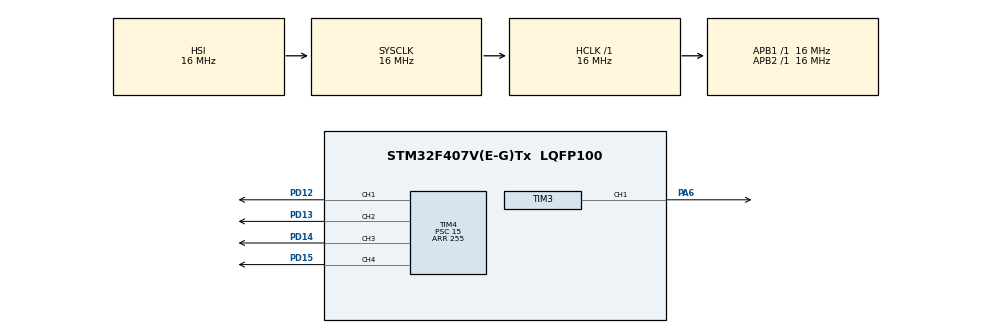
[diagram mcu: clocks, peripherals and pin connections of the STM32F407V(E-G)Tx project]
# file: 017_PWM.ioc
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Mcu.Family=STM32F4
Mcu.Name=STM32F407V(E-G)Tx
Mcu.Package=LQFP100
NVIC.PriorityGroup=NVIC_PRIORITYGROUP_4
PA6.Signal=S_TIM3_CH1
PD12.Signal=S_TIM4_CH1
PD13.Signal=S_TIM4_CH2
PD14.Signal=S_TIM4_CH3
PD15.Signal=S_TIM4_CH4
ProjectManager.HeapSize=0x200
ProjectManager.StackSize=0x400
ProjectManager.TargetToolchain=STM32CubeIDE
RCC.AHBFreq_Value=16000000
RCC.APB1Freq_Value=16000000
RCC.APB2Freq_Value=16000000
RCC.CortexFreq_Value=16000000
RCC.HSE_VALUE=25000000
RCC.HSI_VALUE=16000000
RCC.LSE_VALUE=32768
RCC.SYSCLKFreq_VALUE=16000000
RCC.VCOOutputFreq_Value=192000000
SH.S_TIM3_CH1.0=TIM3_CH1,PWM Generation1 CH1
SH.S_TIM4_CH1.0=TIM4_CH1,PWM Generation1 CH1
SH.S_TIM4_CH2.0=TIM4_CH2,PWM Generation2 CH2
SH.S_TIM4_CH3.0=TIM4_CH3,PWM Generation3 CH3
SH.S_TIM4_CH4.0=TIM4_CH4,PWM Generation4 CH4
TIM3.Channel-PWM\ Generation1\ CH1=TIM_CHANNEL_1
TIM3.Period=19999
TIM3.Prescaler=15
TIM4.Channel-PWM\ Generation1\ CH1=TIM_CHANNEL_1
TIM4.Channel-PWM\ Generation2\ CH2=TIM_CHANNEL_2
TIM4.Channel-PWM\ Generation3\ CH3=TIM_CHANNEL_3
TIM4.Channel-PWM\ Generation4\ CH4=TIM_CHANNEL_4
TIM4.Period=255
TIM4.Prescaler=15
TIM4.Pulse-PWM\ Generation1\ CH1=0
TIM4.Pulse-PWM\ Generation2\ CH2=0
TIM4.Pulse-PWM\ Generation3\ CH3=0
TIM4.Pulse-PWM\ Generation4\ CH4=0
VP_TIM3_VS_ClockSourceINT.Mode=Internal
VP_TIM4_VS_ClockSourceINT.Mode=Internal
board=custom

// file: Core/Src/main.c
/* USER CODE BEGIN Header */
/**
  ******************************************************************************
  * @file           : main.c
  * @brief          : Main program body
  ******************************************************************************
  * @attention
  *
  * Copyright (c) 2026 STMicroelectronics.
  * All rights reserved.
  *
  * This software is licensed under terms that can be found in the LICENSE file
  * in the root directory of this software component.
  * If no LICENSE file comes with this software, it is provided AS-IS.
  *
  ******************************************************************************
  */
/* USER CODE END Header */
#include "main.h"

TIM_HandleTypeDef htim3; // servo kanalı
TIM_HandleTypeDef htim4;

void SystemClock_Config(void);
static void MX_GPIO_Init(void);
static void MX_TIM4_Init(void);
static void MX_TIM3_Init(void);

/* USER CODE BEGIN 0 */
/* 												// servo kontrol
void Set_Servo_Motor_Angle(uint8_t angle)
{
	if(angle > 180)
		angle = 180;

	uint16_t minPulse = 500;  //  500 us 0.5 ms
	uint16_t maxPulse = 2500; // 2500 us 2.5 ms

	uint16_t pulse = minPulse + ((uint32_t)(maxPulse - minPulse) * angle) / 180; // us cinsinden açı değeri

	__HAL_TIM_SET_COMPARE(&htim3, TIM_CHANNEL_1, pulse);
}
*/
void Set_RGB_Color(uint8_t red, uint8_t green, uint8_t blue)
{
	__HAL_TIM_SET_COMPARE(&htim4, TIM_CHANNEL_1, red);
	__HAL_TIM_SET_COMPARE(&htim4, TIM_CHANNEL_2, green);
	__HAL_TIM_SET_COMPARE(&htim4, TIM_CHANNEL_3, blue);
}

/* USER CODE END 0 */

int main(void)
{

  /* MCU Configuration--------------------------------------------------------*/

  /* Reset of all peripherals, Initializes the Flash interface and the Systick. */
  HAL_Init();

  /* Configure the system clock */
  SystemClock_Config();

  /* Initialize all configured peripherals */
  MX_GPIO_Init();
  MX_TIM4_Init();
  MX_TIM3_Init();
  /* USER CODE BEGIN 2 */

  HAL_TIM_PWM_Start(&htim4, TIM_CHANNEL_1); // % 25  duty
  HAL_TIM_PWM_Start(&htim4, TIM_CHANNEL_1); // % 50  duty
  HAL_TIM_PWM_Start(&htim4, TIM_CHANNEL_1); // % 75  duty
  // HAL_TIM_PWM_Start(&htim4, TIM_CHANNEL_1); // % 100 duty

  // HAL_TIM_PWM_Start(&htim3, TIM_CHANNEL_1); // servo kontrolü

  /* USER CODE END 2 */

  /* Infinite loop */
  while (1)
  {

    /* USER CODE BEGIN 3 */
      /*   // Led parlaklık
	  uint16_t brightness = 0;

	  for(brightness = 0; brightness <= 999; brightness++)
	  {
		  __HAL_TIM_SET_COMPARE(&htim4, TIM_CHANNEL_1, brightness);
		  __HAL_TIM_SET_COMPARE(&htim4, TIM_CHANNEL_2, brightness);
		  __HAL_TIM_SET_COMPARE(&htim4, TIM_CHANNEL_3, brightness);
		  __HAL_TIM_SET_COMPARE(&htim4, TIM_CHANNEL_4, brightness);
		  HAL_Delay(1);
	  }
	  for(brightness = 999; brightness > 0; brightness--)
	  {
		  __HAL_TIM_SET_COMPARE(&htim4, TIM_CHANNEL_1, brightness);
		  __HAL_TIM_SET_COMPARE(&htim4, TIM_CHANNEL_2, brightness);
		  __HAL_TIM_SET_COMPARE(&htim4, TIM_CHANNEL_3, brightness);
		  __HAL_TIM_SET_COMPARE(&htim4, TIM_CHANNEL_4, brightness);
		  HAL_Delay(1);
	  }
	  */
/*     								// servo kontrol
	  for(int i = 0; i < 180; i++)
	  {
		  Set_Servo_Motor_Angle(i);
		  HAL_Delay(10);
	  }
	  HAL_Delay(1000);

	  for(int i = 180; i > 0; i--)
	  {
		  Set_Servo_Motor_Angle(i);
		  HAL_Delay(10);
	  }

	  HAL_Delay(1000);
*/

	  Set_RGB_Color(255, 0, 0); // rapidtables (RGB color picker)
	  HAL_Delay(1000);
	  Set_RGB_Color(0, 255, 0);
	  HAL_Delay(1000);
	  Set_RGB_Color(0, 0, 255);
	  HAL_Delay(1000);
	  Set_RGB_Color(51, 255, 255);
	  HAL_Delay(1000);
	  Set_RGB_Color(153, 0, 153);
	  HAL_Delay(1000);
	  Set_RGB_Color(0, 153, 76);
	  HAL_Delay(1000);
	  Set_RGB_Color(76, 153, 0);
	  HAL_Delay(1000);
  }
  /* USER CODE END 3 */
}

void SystemClock_Config(void)
{
  RCC_OscInitTypeDef RCC_OscInitStruct = {0};
  RCC_ClkInitTypeDef RCC_ClkInitStruct = {0};

  /** Configure the main internal regulator output voltage
  */
  __HAL_RCC_PWR_CLK_ENABLE();
  __HAL_PWR_VOLTAGESCALING_CONFIG(PWR_REGULATOR_VOLTAGE_SCALE1);

  /** Initializes the RCC Oscillators according to the specified parameters
  * in the RCC_OscInitTypeDef structure.
  */
  RCC_OscInitStruct.OscillatorType = RCC_OSCILLATORTYPE_HSI;
  RCC_OscInitStruct.HSIState = RCC_HSI_ON;
  RCC_OscInitStruct.HSICalibrationValue = RCC_HSICALIBRATION_DEFAULT;
  RCC_OscInitStruct.PLL.PLLState = RCC_PLL_NONE;
  if (HAL_RCC_OscConfig(&RCC_OscInitStruct) != HAL_OK)
  {
    Error_Handler();
  }

  /** Initializes the CPU, AHB and APB buses clocks
  */
  RCC_ClkInitStruct.ClockType = RCC_CLOCKTYPE_HCLK|RCC_CLOCKTYPE_SYSCLK
                              |RCC_CLOCKTYPE_PCLK1|RCC_CLOCKTYPE_PCLK2;
  RCC_ClkInitStruct.SYSCLKSource = RCC_SYSCLKSOURCE_HSI;
  RCC_ClkInitStruct.AHBCLKDivider = RCC_SYSCLK_DIV1;
  RCC_ClkInitStruct.APB1CLKDivider = RCC_HCLK_DIV1;
  RCC_ClkInitStruct.APB2CLKDivider = RCC_HCLK_DIV1;

  if (HAL_RCC_ClockConfig(&RCC_ClkInitStruct, FLASH_LATENCY_0) != HAL_OK)
  {
    Error_Handler();
  }
}

static void MX_TIM3_Init(void)
{

  TIM_ClockConfigTypeDef sClockSourceConfig = {0};
  TIM_MasterConfigTypeDef sMasterConfig = {0};
  TIM_OC_InitTypeDef sConfigOC = {0};

  htim3.Instance = TIM3;
  htim3.Init.Prescaler = 15;
  htim3.Init.CounterMode = TIM_COUNTERMODE_UP;
  htim3.Init.Period = 19999;
  htim3.Init.ClockDivision = TIM_CLOCKDIVISION_DIV1;
  htim3.Init.AutoReloadPreload = TIM_AUTORELOAD_PRELOAD_DISABLE;
  if (HAL_TIM_Base_Init(&htim3) != HAL_OK)
  {
    Error_Handler();
  }
  sClockSourceConfig.ClockSource = TIM_CLOCKSOURCE_INTERNAL;
  if (HAL_TIM_ConfigClockSource(&htim3, &sClockSourceConfig) != HAL_OK)
  {
    Error_Handler();
  }
  if (HAL_TIM_PWM_Init(&htim3) != HAL_OK)
  {
    Error_Handler();
  }
  sMasterConfig.MasterOutputTrigger = TIM_TRGO_RESET;
  sMasterConfig.MasterSlaveMode = TIM_MASTERSLAVEMODE_DISABLE;
  if (HAL_TIMEx_MasterConfigSynchronization(&htim3, &sMasterConfig) != HAL_OK)
  {
    Error_Handler();
  }
  sConfigOC.OCMode = TIM_OCMODE_PWM1;
  sConfigOC.Pulse = 0;
  sConfigOC.OCPolarity = TIM_OCPOLARITY_HIGH;
  sConfigOC.OCFastMode = TIM_OCFAST_DISABLE;
  if (HAL_TIM_PWM_ConfigChannel(&htim3, &sConfigOC, TIM_CHANNEL_1) != HAL_OK)
  {
    Error_Handler();
  }
  HAL_TIM_MspPostInit(&htim3);

}

static void MX_TIM4_Init(void)
{

  TIM_ClockConfigTypeDef sClockSourceConfig = {0};
  TIM_MasterConfigTypeDef sMasterConfig = {0};
  TIM_OC_InitTypeDef sConfigOC = {0};

  htim4.Instance = TIM4;
  htim4.Init.Prescaler = 15;
  htim4.Init.CounterMode = TIM_COUNTERMODE_UP;
  htim4.Init.Period = 255;
  htim4.Init.ClockDivision = TIM_CLOCKDIVISION_DIV1;
  htim4.Init.AutoReloadPreload = TIM_AUTORELOAD_PRELOAD_DISABLE;
  if (HAL_TIM_Base_Init(&htim4) != HAL_OK)
  {
    Error_Handler();
  }
  sClockSourceConfig.ClockSource = TIM_CLOCKSOURCE_INTERNAL;
  if (HAL_TIM_ConfigClockSource(&htim4, &sClockSourceConfig) != HAL_OK)
  {
    Error_Handler();
  }
  if (HAL_TIM_PWM_Init(&htim4) != HAL_OK)
  {
    Error_Handler();
  }
  sMasterConfig.MasterOutputTrigger = TIM_TRGO_RESET;
  sMasterConfig.MasterSlaveMode = TIM_MASTERSLAVEMODE_DISABLE;
  if (HAL_TIMEx_MasterConfigSynchronization(&htim4, &sMasterConfig) != HAL_OK)
  {
    Error_Handler();
  }
  sConfigOC.OCMode = TIM_OCMODE_PWM1;
  sConfigOC.Pulse = 0;
  sConfigOC.OCPolarity = TIM_OCPOLARITY_HIGH;
  sConfigOC.OCFastMode = TIM_OCFAST_DISABLE;
  if (HAL_TIM_PWM_ConfigChannel(&htim4, &sConfigOC, TIM_CHANNEL_1) != HAL_OK)
  {
    Error_Handler();
  }
  if (HAL_TIM_PWM_ConfigChannel(&htim4, &sConfigOC, TIM_CHANNEL_2) != HAL_OK)
  {
    Error_Handler();
  }
  if (HAL_TIM_PWM_ConfigChannel(&htim4, &sConfigOC, TIM_CHANNEL_3) != HAL_OK)
  {
    Error_Handler();
  }
  if (HAL_TIM_PWM_ConfigChannel(&htim4, &sConfigOC, TIM_CHANNEL_4) != HAL_OK)
  {
    Error_Handler();
  }
  HAL_TIM_MspPostInit(&htim4);

}

static void MX_GPIO_Init(void)
{

  /* GPIO Ports Clock Enable */
  __HAL_RCC_GPIOA_CLK_ENABLE();
  __HAL_RCC_GPIOD_CLK_ENABLE();

}

void Error_Handler(void)
{
  __disable_irq();
  while (1)
  {
  }
}
